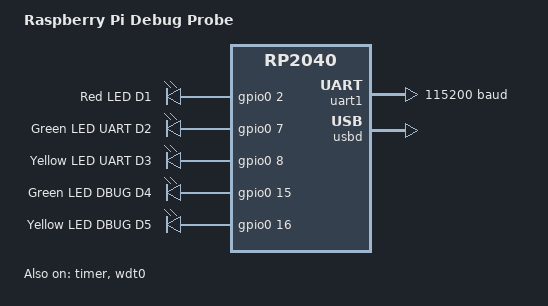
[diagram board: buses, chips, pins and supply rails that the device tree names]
/*
 * Copyright (c) 2021 Yonatan Schachter
 * Copyright (c) 2022 Peter Johanson
 * Copyright (c) 2025 Jonas Berg
 *
 * SPDX-License-Identifier: Apache-2.0
 */

/dts-v1/;

#include <raspberrypi/rpi_pico/rp2040.dtsi>
#include <dt-bindings/pinctrl/rpi-pico-rp2040-pinctrl.h>
#include <zephyr/dt-bindings/input/input-event-codes.h>
#include <zephyr/dt-bindings/led/led.h>
#include "rpi_debug_probe-pincontrol.dtsi"

/ {
	model = "Raspberry Pi Debug Probe";
	compatible = "raspberry_pi,debug_probe";

	chosen {
		zephyr,sram = &sram0;
		zephyr,flash = &flash0;
		zephyr,flash-controller = &ssi;
		zephyr,console = &uart1;
		zephyr,shell-uart = &uart1;
		zephyr,code-partition = &code_partition;
	};

	aliases {
		watchdog0 = &wdt0;
		led0 = &red_led;
	};

	leds: leds {
		compatible = "gpio-leds";

		red_led: red_led {
			gpios = <&gpio0 2 GPIO_ACTIVE_HIGH>;
			label = "Red LED D1";
		};

		green_led_uart: green_led_uart {
			gpios = <&gpio0 7 GPIO_ACTIVE_HIGH>;
			label = "Green LED UART D2";
		};

		yellow_led_uart: yellow_led_uart {
			gpios = <&gpio0 8 GPIO_ACTIVE_HIGH>;
			label = "Yellow LED UART D3";
		};

		green_led_dbug: green_led_dbug {
			gpios = <&gpio0 15 GPIO_ACTIVE_HIGH>;
			label = "Green LED DBUG D4";
		};

		yellow_led_dbug: yellow_led_dbug {
			gpios = <&gpio0 16 GPIO_ACTIVE_HIGH>;
			label = "Yellow LED DBUG D5";
		};
	};
};

&flash0 {
	reg = <0x10000000 DT_SIZE_M(2)>;

	partitions {
		compatible = "fixed-partitions";
		#address-cells = <1>;
		#size-cells = <1>;

		/* Reserved memory for the second stage bootloader */
		second_stage_bootloader: partition@0 {
			label = "second_stage_bootloader";
			reg = <0x00000000 0x100>;
			read-only;
		};

		/*
		 * Usable flash. Starts at 0x100, after the bootloader. The partition
		 * size is 2 MB minus the 0x100 bytes taken by the bootloader.
		 */
		code_partition: partition@100 {
			label = "code-partition";
			reg = <0x100 (DT_SIZE_M(2) - 0x100)>;
			read-only;
		};
	};
};

&gpio0 {
	status = "okay";
};

&uart1 {
	current-speed = <115200>;
	status = "okay";
	pinctrl-0 = <&uart1_default>;
	pinctrl-names = "default";
};

&timer {
	status = "okay";
};

&wdt0 {
	status = "okay";
};

zephyr_udc0: &usbd {
	status = "okay";
};

&vreg {
	regulator-always-on;
	regulator-allowed-modes = <REGULATOR_RPI_PICO_MODE_NORMAL>;
};

&xosc {
	startup-delay-multiplier = <64>;
};
